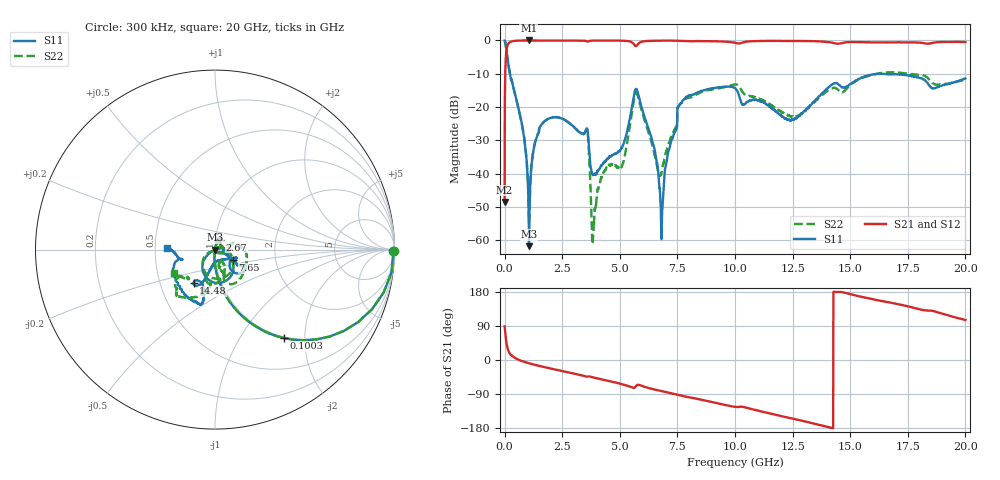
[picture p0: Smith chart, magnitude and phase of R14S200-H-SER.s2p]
!{R14S200}
!Johanson Technology Inc.
!www.johansontechnology.com
!Test Board Conditions:
!Substrate Type  RO4350B
!Substrate Thickness  20 mil
!Substrate Dk  3.66
!TL Type: GCPW
!TL Trace Width  36 mil
!TL Gap  12 mil
!Electrode orientation  Horizontal
!DUT TOPOLOGY	SERIES
!Mounting Pad LxW  26x36 mil
! Created Wed Nov 25 17:33:21 2020
! 2 Port Network Data from SP1.SP block
! freq  magS11  angS11  magS21  angS21  magS12  angS12  magS22  angS22
# khz S ma R 50
! decimated to every 10th point (10 MHz spacing) of the original 1 MHz Johanson file; values unchanged
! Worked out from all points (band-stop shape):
!   2001 points, 300 kHz to 20 GHz, reference 50 ohm
!   highest |S21| = 0.00 dB at 1.05 GHz (marker M1); lowest = -48.5 dB at 300 kHz (marker M2)
!   |S21| within 3 dB of the highest: 81.21 MHz to end of sweep
!   lowest |S11| = -61.8 dB at 1.06 GHz (marker M3), VSWR 1.00, Z = 49.9 + j0.00335 ohm
!   |S11| at or under -10 dB: 231.1 MHz to 16.14 GHz (15.91 GHz wide, 194 % of centre); 16.14 GHz to 16.24 GHz (95.82 MHz wide, 0.592 % of centre); 16.3 GHz to end of sweep
!   |S22| runs from -60.6 to 0.0 dB; largest |S21 - S12| = 0.018
!   S11 on the Smith chart (normalised r, x): 300 kHz: open; 100.3 MHz: 0.98, -1.58; 2.67 GHz: 1.05, +0.12; 7.65 GHz: 1.21, -0.14; 14.48 GHz: 0.74, -0.29; 20 GHz: 0.58, +0.01
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300  0.9936 -0.5  0.003742 88.7  0.003755 89.8  0.9983 -0.4
100300  0.6243 -52.1  0.7788 37.8  0.7792 37.8  0.6259 -52.0
800300  0.04393 -94.7  0.9975 -3.8  0.9987 -3.8  0.04413 -92.3
1050300  0.001799 -132.8  0.9999 -8.5  0.9995 -8.4  0.001971 -50.9
1060300  0.000814 177.6  0.9983 -8.6  0.9987 -8.6  0.001809 -13.0
1600300  0.05428 77.9  0.9973 -17.0  0.9979 -17.0  0.05465 67.5
2670300  0.06197 63.3  0.9959 -31.4  0.9963 -31.4  0.06186 52.0
3340300  0.04004 45.1  0.9958 -40.5  0.9953 -40.4  0.03928 44.7
3590300  0.04678 -9.2  0.9623 -43.7  0.9622 -43.6  0.04498 -2.5
3850300  0.009721 -32.0  0.9945 -46.1  0.9948 -46.1  0.001241 83.0
4280300  0.01405 -66.4  0.9957 -52.0  0.9962 -52.1  0.01036 159.4
5080300  0.02476 -47.4  0.9927 -63.4  0.9916 -63.5  0.01255 84.5
5700300  0.1873 -78.4  0.8239 -69.0  0.8234 -69.1  0.1639 -74.5
6670300  0.01046 -149.6  0.9922 -80.2  0.9922 -80.2  0.01019 -117.9
6840300  0.002781 17.5  0.9921 -82.6  0.9926 -82.7  0.01217 -57.2
7650300  0.115 -29.8  0.9851 -93.8  0.9854 -93.8  0.1134 16.0
1.00003e7  0.1924 -42.7  0.921 -123.8  0.9214 -123.8  0.2183 -55.3
1.23403e7  0.06507 -69.3  0.9819 -152.6  0.985 -152.5  0.07592 -70.6
1.33403e7  0.1126 -103.6  0.9771 -166.6  0.9807 -166.6  0.1081 -60.7
1.44803e7  0.22 -122.9  0.894 179.5  0.8943 179.5  0.1802 -105.7
1.66703e7  0.3105 -109.5  0.9345 152.3  0.927 152.1  0.3332 -128.7
2e7  0.2684 178.0  0.9459 105.5  0.9454 105.6  0.2603 -150.3
